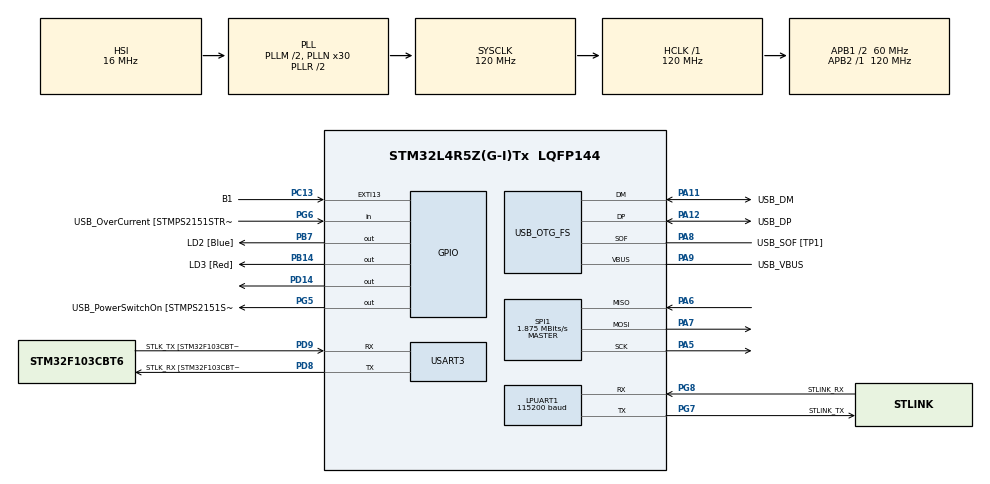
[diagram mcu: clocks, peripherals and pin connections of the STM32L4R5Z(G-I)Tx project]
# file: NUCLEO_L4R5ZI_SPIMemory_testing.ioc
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LPUART1.BaudRate=115200
LPUART1.WordLength=UART_WORDLENGTH_8B
Mcu.Family=STM32L4
Mcu.Name=STM32L4R5Z(G-I)Tx
Mcu.Package=LQFP144
NVIC.PriorityGroup=NVIC_PRIORITYGROUP_4
PA10.GPIO_Label=USB_ID
PA10.Signal=USB_OTG_FS_ID
PA11.GPIO_Label=USB_DM
PA11.Mode=Device_Only
PA11.Signal=USB_OTG_FS_DM
PA12.GPIO_Label=USB_DP
PA12.Mode=Device_Only
PA12.Signal=USB_OTG_FS_DP
PA13\ (JTMS/SWDIO).GPIO_Label=TMS
PA13\ (JTMS/SWDIO).Mode=Trace_Asynchronous_SW
PA13\ (JTMS/SWDIO).Signal=SYS_JTMS-SWDIO
PA14\ (JTCK/SWCLK).GPIO_Label=TCK
PA14\ (JTCK/SWCLK).Mode=Trace_Asynchronous_SW
PA14\ (JTCK/SWCLK).Signal=SYS_JTCK-SWCLK
PA5.Mode=Full_Duplex_Master
PA5.Signal=SPI1_SCK
PA6.Mode=Full_Duplex_Master
PA6.Signal=SPI1_MISO
PA7.Mode=Full_Duplex_Master
PA7.Signal=SPI1_MOSI
PA8.GPIO_Label=USB_SOF [TP1]
PA8.Mode=Activate_SOF_FS
PA8.Signal=USB_OTG_FS_SOF
PA9.GPIO_Label=USB_VBUS
PA9.Mode=Activate_VBUS
PA9.Signal=USB_OTG_FS_VBUS
PB14.GPIO_Label=LD3 [Red]
PB14.Signal=GPIO_Output
PB3\ (JTDO/TRACESWO).GPIO_Label=SWO
PB3\ (JTDO/TRACESWO).Mode=Trace_Asynchronous_SW
PB3\ (JTDO/TRACESWO).Signal=SYS_JTDO-SWO
PB7.GPIO_Label=LD2 [Blue]
PB7.Signal=GPIO_Output
PC13.GPIO_Label=B1
PC13.Signal=GPXTI13
PC14-OSC32_IN\ (PC14).Mode=LSE-External-Oscillator
PC14-OSC32_IN\ (PC14).Signal=RCC_OSC32_IN
PC15-OSC32_OUT\ (PC15).Mode=LSE-External-Oscillator
PC15-OSC32_OUT\ (PC15).Signal=RCC_OSC32_OUT
PD14.Signal=GPIO_Output
PD8.GPIO_Label=STLK_RX [STM32F103CBT6_PA3]
PD8.Mode=Asynchronous
PD8.Signal=USART3_TX
PD9.GPIO_Label=STLK_TX [STM32F103CBT6_PA2]
PD9.Mode=Asynchronous
PD9.Signal=USART3_RX
PG5.GPIO_Label=USB_PowerSwitchOn [STMPS2151STR_EN]
PG5.Signal=GPIO_Output
PG6.GPIO_Label=USB_OverCurrent [STMPS2151STR_FAULT]
PG6.Signal=GPIO_Input
PG7.GPIO_Label=STLINK_TX
PG7.Mode=Asynchronous
PG7.Signal=LPUART1_TX
PG8.GPIO_Label=STLINK_RX
PG8.Mode=Asynchronous
PG8.Signal=LPUART1_RX
PH0-OSC_IN\ (PH0).Signal=RCC_OSC_IN
PH1-OSC_OUT\ (PH1).Signal=RCC_OSC_OUT
ProjectManager.HeapSize=0x200
ProjectManager.StackSize=0x400
ProjectManager.TargetToolchain=STM32CubeIDE
RCC.48MHZClocksFreq_Value=24000000
RCC.ADCFreq_Value=96000000
RCC.AHBFreq_Value=120000000
RCC.APB1CLKDivider=RCC_HCLK_DIV2
RCC.APB1Freq_Value=60000000
RCC.APB1TimFreq_Value=120000000
RCC.APB2Freq_Value=120000000
RCC.APB2TimFreq_Value=120000000
RCC.CK48CLockSelection=RCC_USBCLKSOURCE_HSI48
RCC.CortexFreq_Value=120000000
RCC.HCLKFreq_Value=120000000
RCC.HSE_VALUE=8000000
RCC.HSI48_VALUE=48000000
RCC.HSI_VALUE=16000000
RCC.MSI_VALUE=4000000
RCC.PLLM1=2
RCC.PLLMUL=RCC_PLL_MUL9
RCC.PLLN=30
RCC.PLLSAI1N=12
RCC.PLLSourceVirtual=RCC_PLLSOURCE_HSI
RCC.PRESCALERUSB=RCC_USBCLKSOURCE_PLL_DIV1_5
RCC.SYSCLKFreq_VALUE=120000000
RCC.SYSCLKSource=RCC_SYSCLKSOURCE_PLLCLK
RCC.SYSCLKSourceVirtual=RCC_SYSCLKSOURCE_PLLCLK
RCC.USBFreq_Value=48000000
RCC.VCOOutputFreq_Value=240000000
SPI1.BaudRatePrescaler=SPI_BAUDRATEPRESCALER_64
SPI1.CalculateBaudRate=1.875 MBits/s
SPI1.DataSize=SPI_DATASIZE_8BIT
SPI1.Direction=SPI_DIRECTION_2LINES
SPI1.Mode=SPI_MODE_MASTER
SPI1.NSSPMode=SPI_NSS_PULSE_DISABLE
SPI1.VirtualType=VM_MASTER
USART3.VirtualMode-Asynchronous=VM_ASYNC
USB_OTG_FS.VirtualMode=Device_Only
board=NUCLEO-L4R5ZI

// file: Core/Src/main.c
/* USER CODE BEGIN Header */
/**
  ******************************************************************************
  * @file           : main.c
  * @brief          : Main program body
  ******************************************************************************
  * @attention
  *
  * <h2><center>&copy; Copyright (c) 2021 STMicroelectronics.
  * All rights reserved.</center></h2>
  *
  * This software component is licensed by ST under BSD 3-Clause license,
  * the "License"; You may not use this file except in compliance with the
  * License. You may obtain a copy of the License at:
  *                        opensource.org/licenses/BSD-3-Clause
  *
  ******************************************************************************
  */
/* USER CODE END Header */
#include "main.h"

/* USER CODE BEGIN Includes */
#include <string.h>

/* USER CODE END Includes */

UART_HandleTypeDef hlpuart1;
UART_HandleTypeDef huart3;

SPI_HandleTypeDef hspi1;

PCD_HandleTypeDef hpcd_USB_OTG_FS;

/* USER CODE BEGIN PV */

//flash red led to indicate its running
const uint8_t FLASH_READ = 0x03;
const uint8_t FLASH_WRITE = 0x02;
const uint8_t FLASH_WREN = 0x06;
const uint8_t FLASH_WRDI = 0x04;
const uint8_t FLASH_ER4 = 0x20;
const uint8_t FLASH_ER32 = 0x52;
const uint8_t FLASH_ER64 = 0xd8;
const uint8_t FLASH_ERCP = 0xC7;
const uint8_t FLASH_STATREG1 = 0X05;

/* USER CODE END PV */

void SystemClock_Config(void);
static void MX_GPIO_Init(void);
static void MX_LPUART1_UART_Init(void);
static void MX_USART3_UART_Init(void);
static void MX_USB_OTG_FS_PCD_Init(void);
static void MX_SPI1_Init(void);

int main(void)
{
  /* USER CODE BEGIN 1 */

	char uart_buf[100];
	char spiTX_buf[100] = {0};
	char spiRX_buf[100] = {0};
	uint8_t addr[3];
	uint8_t wip;

  /* USER CODE END 1 */

  /* MCU Configuration--------------------------------------------------------*/

  /* Reset of all peripherals, Initializes the Flash interface and the Systick. */
  HAL_Init();

  /* Configure the system clock */
  SystemClock_Config();

  /* Initialize all configured peripherals */
  MX_GPIO_Init();
  MX_LPUART1_UART_Init();
  MX_USART3_UART_Init();
  MX_USB_OTG_FS_PCD_Init();
  MX_SPI1_Init();
  /* USER CODE BEGIN 2 */

  //flash blue led to indicate its running
  HAL_GPIO_WritePin(GPIOB, GPIO_PIN_7, GPIO_PIN_SET);

  //chip select high
  HAL_GPIO_WritePin(GPIOD, GPIO_PIN_14, GPIO_PIN_SET);

  // Send something to UART
	strcpy((char*)uart_buf, "Testing SPI\r\n");
	HAL_UART_Transmit(&hlpuart1, (uint8_t *)uart_buf, strlen((char*)uart_buf), 100);

   //check to see if status reg
   	HAL_GPIO_WritePin(GPIOD, GPIO_PIN_14, GPIO_PIN_RESET);
   	HAL_SPI_Transmit(&hspi1, (uint8_t *)&FLASH_STATREG1, 1, 100);	//opcode for read
   	HAL_SPI_Receive(&hspi1, (uint8_t *)spiRX_buf, 1, 100);	//Receive data
   	HAL_GPIO_WritePin(GPIOD, GPIO_PIN_14, GPIO_PIN_SET);

   //write enable
	HAL_GPIO_WritePin(GPIOD, GPIO_PIN_14, GPIO_PIN_RESET);
	HAL_SPI_Transmit(&hspi1, (uint8_t*)&FLASH_WREN, 1, 100);
	HAL_GPIO_WritePin(GPIOD, GPIO_PIN_14, GPIO_PIN_SET);

	//check to see if status reg
	HAL_GPIO_WritePin(GPIOD, GPIO_PIN_14, GPIO_PIN_RESET);
	HAL_SPI_Transmit(&hspi1, (uint8_t *)&FLASH_STATREG1, 1, 100);	//opcode for read
	HAL_SPI_Receive(&hspi1, (uint8_t *)spiRX_buf, 1, 100);	//Receive data
	HAL_GPIO_WritePin(GPIOD, GPIO_PIN_14, GPIO_PIN_SET);

	//address to save to
	addr[0] = 0x0f;
	addr[1] = 0xff;
	addr[2] = 0x00;

   //erase block
	HAL_GPIO_WritePin(GPIOD, GPIO_PIN_14, GPIO_PIN_RESET);
	HAL_SPI_Transmit(&hspi1, (uint8_t*)&FLASH_ER32, 1, 100);
	HAL_SPI_Transmit(&hspi1, (uint8_t*)&addr, 3, 100);			//write address
	HAL_GPIO_WritePin(GPIOD, GPIO_PIN_14, GPIO_PIN_SET);

	wip = 1;
	while (wip)
	{
		// Read status register
		HAL_GPIO_WritePin(GPIOD, GPIO_PIN_14, GPIO_PIN_RESET);
		HAL_SPI_Transmit(&hspi1, (uint8_t *)&FLASH_STATREG1, 1, 100);	//opcode for read
		HAL_SPI_Receive(&hspi1, (uint8_t *)spiRX_buf, 1, 100);	//Receive data
		HAL_GPIO_WritePin(GPIOD, GPIO_PIN_14, GPIO_PIN_SET);

		// Mask out WIP bit
		wip = spiRX_buf[0] & 0b00000001;
	}

	//check to see status reg
	HAL_GPIO_WritePin(GPIOD, GPIO_PIN_14, GPIO_PIN_RESET);
	HAL_SPI_Transmit(&hspi1, (uint8_t *)&FLASH_STATREG1, 1, 100);	//opcode for read
	HAL_SPI_Receive(&hspi1, (uint8_t *)spiRX_buf, 1, 100);	//Receive data
	HAL_GPIO_WritePin(GPIOD, GPIO_PIN_14, GPIO_PIN_SET);

	//write enable
	HAL_GPIO_WritePin(GPIOD, GPIO_PIN_14, GPIO_PIN_RESET);
	HAL_SPI_Transmit(&hspi1, (uint8_t*)&FLASH_WREN, 1, 100);
	HAL_GPIO_WritePin(GPIOD, GPIO_PIN_14, GPIO_PIN_SET);

	//check to see status reg
	HAL_GPIO_WritePin(GPIOD, GPIO_PIN_14, GPIO_PIN_RESET);
	HAL_SPI_Transmit(&hspi1, (uint8_t *)&FLASH_STATREG1, 1, 100);	//opcode for read
	HAL_SPI_Receive(&hspi1, (uint8_t *)spiRX_buf, 1, 100);	//Receive data
	HAL_GPIO_WritePin(GPIOD, GPIO_PIN_14, GPIO_PIN_SET);

	//save message into tx buffer
	strcpy((char*)spiTX_buf, "I shall write this message into flash memory and then get it back! Please?\r\n");
	uint8_t buflen = strlen((char*)spiTX_buf);

	//write data
	HAL_GPIO_WritePin(GPIOD, GPIO_PIN_14, GPIO_PIN_RESET);	//cs low
	HAL_SPI_Transmit(&hspi1, (uint8_t*)&FLASH_WRITE, 1, 100);	//write opcode
	HAL_SPI_Transmit(&hspi1, (uint8_t*)&addr, 3, 100);			//write address
	HAL_SPI_Transmit(&hspi1, (uint8_t*)&spiTX_buf, 100, 100);//data
	HAL_GPIO_WritePin(GPIOD, GPIO_PIN_14, GPIO_PIN_SET);

	wip = 1;
	while (wip)
	{
		// Read status register
		HAL_GPIO_WritePin(GPIOD, GPIO_PIN_14, GPIO_PIN_RESET);
		HAL_SPI_Transmit(&hspi1, (uint8_t *)&FLASH_STATREG1, 1, 100);	//opcode for read
		HAL_SPI_Receive(&hspi1, (uint8_t *)spiRX_buf, 1, 100);	//Receive data
		HAL_GPIO_WritePin(GPIOD, GPIO_PIN_14, GPIO_PIN_SET);

		// Mask out WIP bit
		wip = spiRX_buf[0] & 0b00000001;
	}

	//check to see if status reg
	HAL_GPIO_WritePin(GPIOD, GPIO_PIN_14, GPIO_PIN_RESET);
	HAL_SPI_Transmit(&hspi1, (uint8_t *)&FLASH_STATREG1, 1, 100);	//opcode for read
	HAL_SPI_Receive(&hspi1, (uint8_t *)spiRX_buf, 1, 100);	//Receive data
	HAL_GPIO_WritePin(GPIOD, GPIO_PIN_14, GPIO_PIN_SET);

	//read the data back
	HAL_GPIO_WritePin(GPIOD, GPIO_PIN_14, GPIO_PIN_RESET);	//cs low
	HAL_SPI_Transmit(&hspi1, (uint8_t *)&FLASH_READ, 1, 100);	//opcode for read
	HAL_SPI_Transmit(&hspi1, (uint8_t*)&addr, 3, 100);			//address to read
	HAL_SPI_Receive(&hspi1, (uint8_t *)spiRX_buf, 100, 100);	//Receive data
	HAL_GPIO_WritePin(GPIOD, GPIO_PIN_14, GPIO_PIN_SET);

	//print the data to UART
	HAL_UART_Transmit(&hlpuart1, (uint8_t *)spiRX_buf, strlen((char*)spiRX_buf), 100);

	//turn off blue led to indicate its done
	HAL_GPIO_WritePin(GPIOB, GPIO_PIN_7, GPIO_PIN_RESET);

  /* USER CODE END 2 */

  /* Infinite loop */
  while (1)
  {

  }
}

void SystemClock_Config(void)
{
  RCC_OscInitTypeDef RCC_OscInitStruct = {0};
  RCC_ClkInitTypeDef RCC_ClkInitStruct = {0};
  RCC_PeriphCLKInitTypeDef PeriphClkInit = {0};

  /** Configure the main internal regulator output voltage
  */
  if (HAL_PWREx_ControlVoltageScaling(PWR_REGULATOR_VOLTAGE_SCALE1_BOOST) != HAL_OK)
  {
    Error_Handler();
  }
  /** Initializes the RCC Oscillators according to the specified parameters
  * in the RCC_OscInitTypeDef structure.
  */
  RCC_OscInitStruct.OscillatorType = RCC_OSCILLATORTYPE_HSI48|RCC_OSCILLATORTYPE_HSI;
  RCC_OscInitStruct.HSIState = RCC_HSI_ON;
  RCC_OscInitStruct.HSI48State = RCC_HSI48_ON;
  RCC_OscInitStruct.HSICalibrationValue = RCC_HSICALIBRATION_DEFAULT;
  RCC_OscInitStruct.PLL.PLLState = RCC_PLL_ON;
  RCC_OscInitStruct.PLL.PLLSource = RCC_PLLSOURCE_HSI;
  RCC_OscInitStruct.PLL.PLLM = 2;
  RCC_OscInitStruct.PLL.PLLN = 30;
  RCC_OscInitStruct.PLL.PLLP = RCC_PLLP_DIV2;
  RCC_OscInitStruct.PLL.PLLQ = RCC_PLLQ_DIV2;
  RCC_OscInitStruct.PLL.PLLR = RCC_PLLR_DIV2;
  if (HAL_RCC_OscConfig(&RCC_OscInitStruct) != HAL_OK)
  {
    Error_Handler();
  }
  /** Initializes the CPU, AHB and APB buses clocks
  */
  RCC_ClkInitStruct.ClockType = RCC_CLOCKTYPE_HCLK|RCC_CLOCKTYPE_SYSCLK
                              |RCC_CLOCKTYPE_PCLK1|RCC_CLOCKTYPE_PCLK2;
  RCC_ClkInitStruct.SYSCLKSource = RCC_SYSCLKSOURCE_PLLCLK;
  RCC_ClkInitStruct.AHBCLKDivider = RCC_SYSCLK_DIV1;
  RCC_ClkInitStruct.APB1CLKDivider = RCC_HCLK_DIV2;
  RCC_ClkInitStruct.APB2CLKDivider = RCC_HCLK_DIV1;

  if (HAL_RCC_ClockConfig(&RCC_ClkInitStruct, FLASH_LATENCY_5) != HAL_OK)
  {
    Error_Handler();
  }
  PeriphClkInit.PeriphClockSelection = RCC_PERIPHCLK_USART3|RCC_PERIPHCLK_LPUART1
                              |RCC_PERIPHCLK_USB;
  PeriphClkInit.Usart3ClockSelection = RCC_USART3CLKSOURCE_PCLK1;
  PeriphClkInit.Lpuart1ClockSelection = RCC_LPUART1CLKSOURCE_PCLK1;
  PeriphClkInit.UsbClockSelection = RCC_USBCLKSOURCE_HSI48;
  if (HAL_RCCEx_PeriphCLKConfig(&PeriphClkInit) != HAL_OK)
  {
    Error_Handler();
  }
}

static void MX_LPUART1_UART_Init(void)
{

  hlpuart1.Instance = LPUART1;
  hlpuart1.Init.BaudRate = 115200;
  hlpuart1.Init.WordLength = UART_WORDLENGTH_8B;
  hlpuart1.Init.StopBits = UART_STOPBITS_1;
  hlpuart1.Init.Parity = UART_PARITY_NONE;
  hlpuart1.Init.Mode = UART_MODE_TX_RX;
  hlpuart1.Init.HwFlowCtl = UART_HWCONTROL_NONE;
  hlpuart1.Init.OneBitSampling = UART_ONE_BIT_SAMPLE_DISABLE;
  hlpuart1.Init.ClockPrescaler = UART_PRESCALER_DIV1;
  hlpuart1.AdvancedInit.AdvFeatureInit = UART_ADVFEATURE_NO_INIT;
  hlpuart1.FifoMode = UART_FIFOMODE_DISABLE;
  if (HAL_UART_Init(&hlpuart1) != HAL_OK)
  {
    Error_Handler();
  }
  if (HAL_UARTEx_SetTxFifoThreshold(&hlpuart1, UART_TXFIFO_THRESHOLD_1_8) != HAL_OK)
  {
    Error_Handler();
  }
  if (HAL_UARTEx_SetRxFifoThreshold(&hlpuart1, UART_RXFIFO_THRESHOLD_1_8) != HAL_OK)
  {
    Error_Handler();
  }
  if (HAL_UARTEx_DisableFifoMode(&hlpuart1) != HAL_OK)
  {
    Error_Handler();
  }

}

static void MX_USART3_UART_Init(void)
{

  huart3.Instance = USART3;
  huart3.Init.BaudRate = 115200;
  huart3.Init.WordLength = UART_WORDLENGTH_8B;
  huart3.Init.StopBits = UART_STOPBITS_1;
  huart3.Init.Parity = UART_PARITY_NONE;
  huart3.Init.Mode = UART_MODE_TX_RX;
  huart3.Init.HwFlowCtl = UART_HWCONTROL_NONE;
  huart3.Init.OverSampling = UART_OVERSAMPLING_16;
  huart3.Init.OneBitSampling = UART_ONE_BIT_SAMPLE_DISABLE;
  huart3.Init.ClockPrescaler = UART_PRESCALER_DIV1;
  huart3.AdvancedInit.AdvFeatureInit = UART_ADVFEATURE_NO_INIT;
  if (HAL_UART_Init(&huart3) != HAL_OK)
  {
    Error_Handler();
  }
  if (HAL_UARTEx_SetTxFifoThreshold(&huart3, UART_TXFIFO_THRESHOLD_1_8) != HAL_OK)
  {
    Error_Handler();
  }
  if (HAL_UARTEx_SetRxFifoThreshold(&huart3, UART_RXFIFO_THRESHOLD_1_8) != HAL_OK)
  {
    Error_Handler();
  }
  if (HAL_UARTEx_DisableFifoMode(&huart3) != HAL_OK)
  {
    Error_Handler();
  }

}

static void MX_SPI1_Init(void)
{

  /* SPI1 parameter configuration*/
  hspi1.Instance = SPI1;
  hspi1.Init.Mode = SPI_MODE_MASTER;
  hspi1.Init.Direction = SPI_DIRECTION_2LINES;
  hspi1.Init.DataSize = SPI_DATASIZE_8BIT;
  hspi1.Init.CLKPolarity = SPI_POLARITY_LOW;
  hspi1.Init.CLKPhase = SPI_PHASE_1EDGE;
  hspi1.Init.NSS = SPI_NSS_SOFT;
  hspi1.Init.BaudRatePrescaler = SPI_BAUDRATEPRESCALER_64;
  hspi1.Init.FirstBit = SPI_FIRSTBIT_MSB;
  hspi1.Init.TIMode = SPI_TIMODE_DISABLE;
  hspi1.Init.CRCCalculation = SPI_CRCCALCULATION_DISABLE;
  hspi1.Init.CRCPolynomial = 7;
  hspi1.Init.CRCLength = SPI_CRC_LENGTH_DATASIZE;
  hspi1.Init.NSSPMode = SPI_NSS_PULSE_DISABLE;
  if (HAL_SPI_Init(&hspi1) != HAL_OK)
  {
    Error_Handler();
  }

}

static void MX_USB_OTG_FS_PCD_Init(void)
{

  hpcd_USB_OTG_FS.Instance = USB_OTG_FS;
  hpcd_USB_OTG_FS.Init.dev_endpoints = 6;
  hpcd_USB_OTG_FS.Init.phy_itface = PCD_PHY_EMBEDDED;
  hpcd_USB_OTG_FS.Init.Sof_enable = ENABLE;
  hpcd_USB_OTG_FS.Init.low_power_enable = DISABLE;
  hpcd_USB_OTG_FS.Init.lpm_enable = DISABLE;
  hpcd_USB_OTG_FS.Init.battery_charging_enable = ENABLE;
  hpcd_USB_OTG_FS.Init.use_dedicated_ep1 = DISABLE;
  hpcd_USB_OTG_FS.Init.vbus_sensing_enable = ENABLE;
  if (HAL_PCD_Init(&hpcd_USB_OTG_FS) != HAL_OK)
  {
    Error_Handler();
  }

}

static void MX_GPIO_Init(void)
{
  GPIO_InitTypeDef GPIO_InitStruct = {0};

  /* GPIO Ports Clock Enable */
  __HAL_RCC_GPIOC_CLK_ENABLE();
  __HAL_RCC_GPIOH_CLK_ENABLE();
  __HAL_RCC_GPIOA_CLK_ENABLE();
  __HAL_RCC_GPIOB_CLK_ENABLE();
  __HAL_RCC_GPIOD_CLK_ENABLE();
  __HAL_RCC_GPIOG_CLK_ENABLE();
  HAL_PWREx_EnableVddIO2();

  /*Configure GPIO pin Output Level */
  HAL_GPIO_WritePin(GPIOB, LD3_Pin|LD2_Pin, GPIO_PIN_RESET);

  /*Configure GPIO pin Output Level */
  HAL_GPIO_WritePin(GPIOD, GPIO_PIN_14, GPIO_PIN_RESET);

  /*Configure GPIO pin Output Level */
  HAL_GPIO_WritePin(USB_PowerSwitchOn_GPIO_Port, USB_PowerSwitchOn_Pin, GPIO_PIN_RESET);

  /*Configure GPIO pin : B1_Pin */
  GPIO_InitStruct.Pin = B1_Pin;
  GPIO_InitStruct.Mode = GPIO_MODE_IT_RISING;
  GPIO_InitStruct.Pull = GPIO_NOPULL;
  HAL_GPIO_Init(B1_GPIO_Port, &GPIO_InitStruct);

  /*Configure GPIO pins : LD3_Pin LD2_Pin */
  GPIO_InitStruct.Pin = LD3_Pin|LD2_Pin;
  GPIO_InitStruct.Mode = GPIO_MODE_OUTPUT_PP;
  GPIO_InitStruct.Pull = GPIO_NOPULL;
  GPIO_InitStruct.Speed = GPIO_SPEED_FREQ_LOW;
  HAL_GPIO_Init(GPIOB, &GPIO_InitStruct);

  /*Configure GPIO pin : PD14 */
  GPIO_InitStruct.Pin = GPIO_PIN_14;
  GPIO_InitStruct.Mode = GPIO_MODE_OUTPUT_PP;
  GPIO_InitStruct.Pull = GPIO_NOPULL;
  GPIO_InitStruct.Speed = GPIO_SPEED_FREQ_LOW;
  HAL_GPIO_Init(GPIOD, &GPIO_InitStruct);

  /*Configure GPIO pin : USB_PowerSwitchOn_Pin */
  GPIO_InitStruct.Pin = USB_PowerSwitchOn_Pin;
  GPIO_InitStruct.Mode = GPIO_MODE_OUTPUT_PP;
  GPIO_InitStruct.Pull = GPIO_NOPULL;
  GPIO_InitStruct.Speed = GPIO_SPEED_FREQ_LOW;
  HAL_GPIO_Init(USB_PowerSwitchOn_GPIO_Port, &GPIO_InitStruct);

  /*Configure GPIO pin : USB_OverCurrent_Pin */
  GPIO_InitStruct.Pin = USB_OverCurrent_Pin;
  GPIO_InitStruct.Mode = GPIO_MODE_INPUT;
  GPIO_InitStruct.Pull = GPIO_NOPULL;
  HAL_GPIO_Init(USB_OverCurrent_GPIO_Port, &GPIO_InitStruct);

}

void Error_Handler(void)
{
  __disable_irq();
  while (1)
  {
  }
}

/************************ (C) COPYRIGHT STMicroelectronics *****END OF FILE****/
